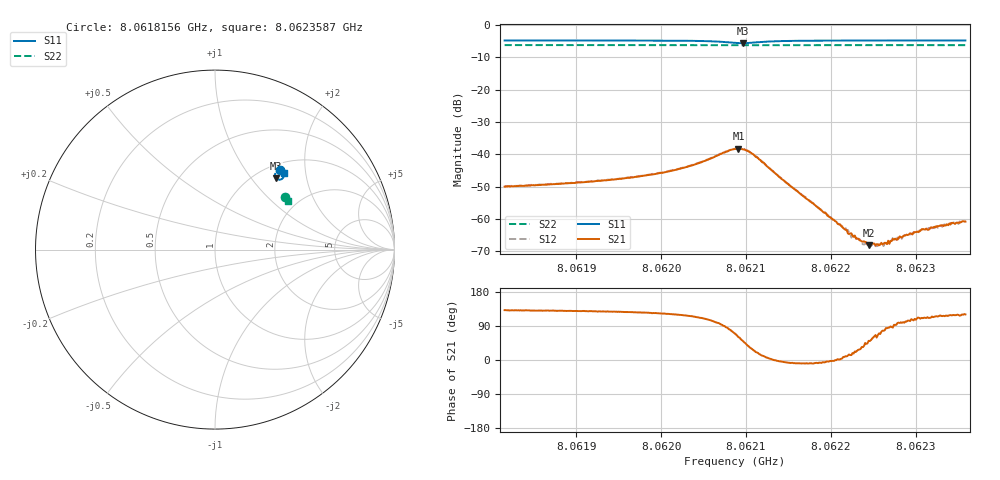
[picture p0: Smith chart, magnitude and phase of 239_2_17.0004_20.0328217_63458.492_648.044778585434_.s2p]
#  HZ  S  RI  R  50.00
! Rohde & Schwarz Vector Network Analyzer
! Rohde-Schwarz,ZNB20-2Port,1311601062101988,3.16
! Created: UTC 3/20/2024, 11:02:48 PM
! freq[Hz]  re:S11  im:S11  re:S21  im:S21  re:S12  im:S12  re:S22  im:S22
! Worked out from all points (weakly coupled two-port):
!   401 points, 8.0618156 GHz to 8.0623587 GHz, reference 50 ohm
!   highest |S21| = -38.24 dB at 8.0620912 GHz (marker M1); lowest = -68.2 dB at 8.0622447 GHz (marker M2)
!   lowest |S11| = -5.6 dB at 8.0620967 GHz (marker M3), VSWR 3.19, Z = 61.5 + j67.1 ohm
!   |S11| at or under -10 dB: nowhere
!   |S22| runs from -6.3 to -6.2 dB; largest |S21 - S12| = 0.00095
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8.0618156e9  0.3649 0.4455  -0.00209 0.00236  -0.00198 0.00254  0.3882 0.2958
8.06190657e9  0.3718 0.4394  -0.00231 0.00285  -0.00218 0.00302  0.3914 0.2915
8.0619541e9  0.3755 0.4352  -0.00251 0.00335  -0.00233 0.00353  0.3931 0.2891
8.06199755e9  0.3796 0.4294  -0.00275 0.00425  -0.00254 0.00448  0.3947 0.2868
8.06203964e9  0.3836 0.4183  -0.00285 0.00632  -0.00251 0.00658  0.3959 0.2842
8.06208716e9  0.3577 0.3894  0.0042 0.0113  0.00498 0.0111  0.3958 0.2811
8.06209123e9  0.3501 0.3908  0.00605 0.0107  0.00668 0.0104  0.3957 0.2812
8.06209666e9  0.3413 0.3964  0.00764 0.00908  0.00839 0.00867  0.3956 0.2815
8.0621116e9  0.3345 0.4206  0.00851 0.00326  0.00891 0.00299  0.396 0.2818
8.0621469e9  0.356 0.4393  0.00367 -0.000391  0.00365 -0.000612  0.3984 0.2808
8.06217813e9  0.3665 0.4385  0.00173 -0.000284  0.00173 -0.000395  0.3999 0.2791
8.06221751e9  0.3737 0.4358  0.000664 0.000116  0.000713 7.33e-05  0.4013 0.2769
8.06222294e9  0.3743 0.4355  0.00058 0.000134  0.000596 0.000108  0.4016 0.2766
8.06223787e9  0.3762 0.4344  0.000368 0.000247  0.000324 0.000242  0.4021 0.2757
8.06224466e9  0.377 0.4339  0.000246 0.0003  0.000298 0.000299  0.4024 0.2756
8.06225552e9  0.3782 0.4332  0.000165 0.000368  0.000161 0.000348  0.4027 0.2749
8.06226095e9  0.3787 0.4328  8.77e-05 0.000394  0.000125 0.000384  0.4029 0.2746
8.0622691e9  0.3795 0.4323  3.13e-05 0.000409  7.05e-05 0.000434  0.4031 0.2743
8.06227317e9  0.3799 0.4321  3.81e-05 0.000488  5.26e-06 0.000505  0.4033 0.2741
8.06228268e9  0.3807 0.4315  -8.5e-05 0.000513  -5.46e-05 0.000475  0.4035 0.2735
8.06230983e9  0.3831 0.4297  -0.000255 0.000642  -0.000208 0.000665  0.4044 0.2722
8.06235871e9  0.3867 0.427  -0.000457 0.000783  -0.000394 0.000828  0.4061 0.2698
